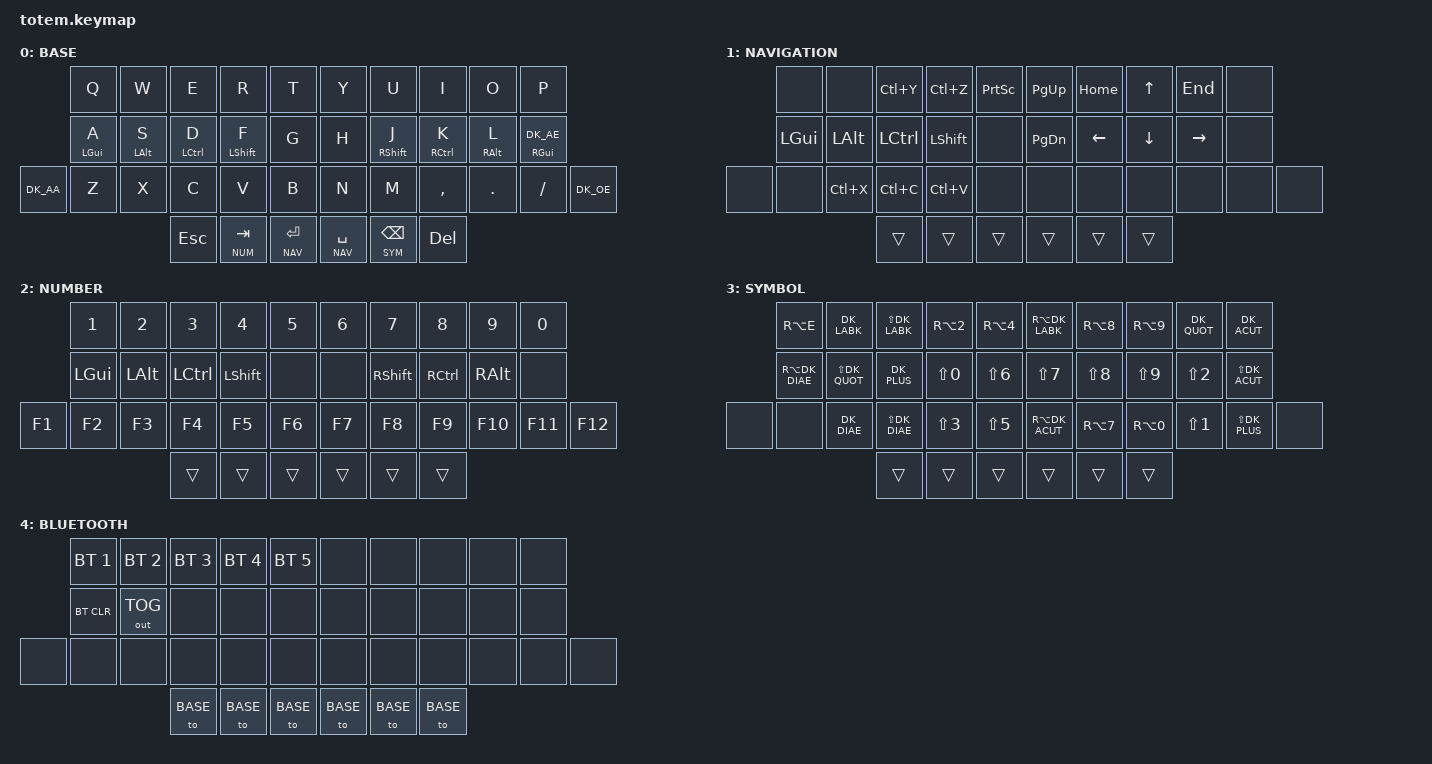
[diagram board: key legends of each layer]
//
//                                                        ▀▀▀▀▀     ▀▀▀▀▀          ▀▀█▀▀
//                                                        ▄▀▀▀▄  ▄  ▄▀▀▀▄  ▄  ▄▀▀▀▄  █  ▄▀▀▀▄
//                                                        █   █  █  █   █  █  █   █  █  █   █
//                                                         ▀▀▀   █   ▀▀▀   █   ▀▀▀   ▀   ▀▀▀
//                                                               █      ▄▄▄█▄▄▄    █   █  
//                                                               ▀      █  █  █     █▄█
//                                                             ▀▀▀▀▀    █  █  █      ▀
//                                                                      ▀  ▀  ▀
//
// ▄▄▄▄▄▄▄▄▄▄▄▄▄▄▄▄▄▄▄▄▄▄▄▄▄▄▄▄▄▄▄▄▄▄▄▄▄▄▄▄▄▄▄▄▄▄▄▄▄▄▄▄▄▄▄▄▄▄▄▄▄▄▄▄▄▄▄▄▄▄▄▄▄▄▄▄▄▄▄▄▄▄▄▄▄▄▄▄▄▄▄▄▄▄▄▄▄▄▄▄▄▄▄▄▄▄▄▄▄▄▄▄▄▄▄▄▄▄▄▄▄▄▄▄▄▄▄▄▄▄▄▄▄▄▄▄▄▄▄▄▄▄▄▄▄▄▄▄▄
       

#include <behaviors.dtsi>
#include <dt-bindings/zmk/keys.h>
#include <dt-bindings/zmk/bt.h>
#include <dt-bindings/zmk/outputs.h>
#include "keys_danish.h"

#define BASE 0
#define NAV  1
#define NUM  2
#define SYM  3
#define BLT  4

&mt {
  flavor = "balanced";
  tapping-term-ms = <200>;
};

&lt {
  flavor = "balanced";
  tapping-term-ms = <200>;
};

/ {
     combos {
            compatible = "zmk,combos";
            combo_blt {
                timeout-ms = <100>;
                key-positions = <20 21 22>;
                bindings = <&tog BLT>;
            };
    };

        keymap {
                compatible = "zmk,keymap";
// ▄▄▄▄▄▄▄▄▄▄▄▄▄▄▄▄▄▄▄▄▄▄▄▄▄▄▄▄▄▄▄▄▄▄▄▄▄▄▄▄▄▄▄▄▄▄▄▄▄▄▄▄▄▄▄▄▄▄▄▄▄▄▄▄▄▄▄▄▄▄▄▄▄▄▄▄▄▄▄▄▄▄▄▄▄▄▄▄▄▄▄▄▄▄▄▄▄▄▄▄▄▄▄▄▄▄▄▄▄▄▄▄▄▄▄▄▄▄▄▄▄▄▄▄▄▄▄▄▄▄▄▄▄▄▄▄▄▄▄▄▄▄▄▄▄▄▄▄▄

                base_layer {
// ┏━━━━━━━━━━━━━━━━━━━━━━━━━━━━━━━━━━━━━━━┓
label= "BASE"                              ;
// ┗━━━━━━━━━━━━━━━━━━━━━━━━━━━━━━━━━━━━━━━┛
//             ┏━━━━━━━━━━━┳━━━━━━━━━━━┳━━━━━━━━━━━┳━━━━━━━━━━━┳━━━━━━━━━━━┓   ┏━━━━━━━━━━━┳━━━━━━━━━━━┳━━━━━━━━━━━┳━━━━━━━━━━━┳━━━━━━━━━━━┓
//             ┃     Q     ┃     W     ┃     E     ┃     R     ┃     T     ┃   ┃     Y     ┃     U     ┃     I     ┃     O     ┃     P     ┃
//             ┣━━━━━━━━━━━╋━━━━━━━━━━━╋━━━━━━━━━━━╋━━━━━━━━━━━╋━━━━━━━━━━━┫   ┣━━━━━━━━━━━╋━━━━━━━━━━━╋━━━━━━━━━━━╋━━━━━━━━━━━╋━━━━━━━━━━━┫
//             ┃  A (WIN)  ┃  S (ALT)  ┃  D (CTRL) ┃ F (SHIFT) ┃     G     ┃   ┃     H     ┃ J (SHIFT) ┃  K (CTRL) ┃  L (ALT)  ┃  Æ (WIN)  ┃
// ┏━━━━━━━━━━━╋━━━━━━━━━━━╋━━━━━━━━━━━╋━━━━━━━━━━━╋━━━━━━━━━━━╋━━━━━━━━━━━┫   ┣━━━━━━━━━━━╋━━━━━━━━━━━╋━━━━━━━━━━━╋━━━━━━━━━━━╋━━━━━━━━━━━╋━━━━━━━━━━━┓
// ┃     Å     ┃     Z     ┃     X     ┃     C     ┃     V     ┃     B     ┃   ┃     N     ┃     M     ┃     ,     ┃     .     ┃     -     ┃     Ø     ┃
// ┗━━━━━━━━━━━┻━━━━━━━━━━━┻━━━━━━━━━━━╋━━━━━━━━━━━╋━━━━━━━━━━━╋━━━━━━━━━━━┫   ┣━━━━━━━━━━━╋━━━━━━━━━━━╋━━━━━━━━━━━╋━━━━━━━━━━━┻━━━━━━━━━━━┻━━━━━━━━━━━┛
//                                     ┃    ESC    ┃ TAB (NUM) ┃ENTER (NAV)┃   ┃SPACE (NAV)┃ BSPC (SYM)┃   DEL     ┃
//                                     ┗━━━━━━━━━━━┻━━━━━━━━━━━┻━━━━━━━━━━━┛   ┗━━━━━━━━━━━┻━━━━━━━━━━━┻━━━━━━━━━━━┛
 bindings = <
// ╷           ╷           ╷           ╷           ╷           ╷           ╷   ╷           ╷           ╷           ╷           ╷           ╷           ╷

                &kp Q       &kp W       &kp E       &kp R       &kp T           &kp Y       &kp U       &kp I       &kp O       &kp P
                &mt LGUI A  &mt LALT S  &mt LCTRL D &mt LSHFT F &kp G           &kp H       &mt RSHFT J &mt RCTRL K &mt RALT L  &mt RGUI DK_AE
    &kp DK_AA   &kp Z       &kp X       &kp C       &kp V       &kp B           &kp N       &kp M       &kp COMMA   &kp DOT     &kp FSLH    &kp DK_OE
                                        &kp ESC     &lt NUM TAB &lt NAV RET     &lt NAV SPACE &lt SYM BSPC  &kp DEL
                        >;
                };

// ▄▄▄▄▄▄▄▄▄▄▄▄▄▄▄▄▄▄▄▄▄▄▄▄▄▄▄▄▄▄▄▄▄▄▄▄▄▄▄▄▄▄▄▄▄▄▄▄▄▄▄▄▄▄▄▄▄▄▄▄▄▄▄▄▄▄▄▄▄▄▄▄▄▄▄▄▄▄▄▄▄▄▄▄▄▄▄▄▄▄▄▄▄▄▄▄▄▄▄▄▄▄▄▄▄▄▄▄▄▄▄▄▄▄▄▄▄▄▄▄▄▄▄▄▄▄▄▄▄▄▄▄▄▄▄▄▄▄▄▄▄▄▄▄▄▄▄▄▄


                nav_layer {
// ┏━━━━━━━━━━━━━━━━━━━━━━━━━━━━━━━━━━━━━━━┓
label= "NAVIGATION"                        ;
// ┗━━━━━━━━━━━━━━━━━━━━━━━━━━━━━━━━━━━━━━━┛
//             ┏━━━━━━━━━━━┳━━━━━━━━━━━┳━━━━━━━━━━━┳━━━━━━━━━━━┳━━━━━━━━━━━┓   ┏━━━━━━━━━━━┳━━━━━━━━━━━┳━━━━━━━━━━━┳━━━━━━━━━━━┳━━━━━━━━━━━┓
//             ┃           ┃           ┃   REDO    ┃   UNDO    ┃ PRINTSCR  ┃   ┃  PAGE_UP  ┃   HOME    ┃     UP    ┃   END     ┃           ┃
//             ┣━━━━━━━━━━━╋━━━━━━━━━━━╋━━━━━━━━━━━╋━━━━━━━━━━━╋━━━━━━━━━━━┫   ┣━━━━━━━━━━━╋━━━━━━━━━━━╋━━━━━━━━━━━╋━━━━━━━━━━━╋━━━━━━━━━━━┫
//             ┃   WIN     ┃    ALT    ┃   CTRL    ┃   SHIFT   ┃           ┃   ┃ PAGE_DOWN ┃   LEFT    ┃    DOWN   ┃   RIGHT   ┃           ┃
// ┏━━━━━━━━━━━╋━━━━━━━━━━━╋━━━━━━━━━━━╋━━━━━━━━━━━╋━━━━━━━━━━━╋━━━━━━━━━━━┫   ┣━━━━━━━━━━━╋━━━━━━━━━━━╋━━━━━━━━━━━╋━━━━━━━━━━━╋━━━━━━━━━━━╋━━━━━━━━━━━┓
// ┃           ┃           ┃    CUT    ┃   COPY    ┃   PASTE   ┃           ┃   ┃           ┃           ┃           ┃           ┃           ┃           ┃
// ┗━━━━━━━━━━━┻━━━━━━━━━━━┻━━━━━━━━━━━╋━━━━━━━━━━━╋━━━━━━━━━━━╋━━━━━━━━━━━┫   ┣━━━━━━━━━━━╋━━━━━━━━━━━╋━━━━━━━━━━━╋━━━━━━━━━━━┻━━━━━━━━━━━┻━━━━━━━━━━━┛
//                                     ┃           ┃           ┃           ┃   ┃           ┃           ┃           ┃
//                                     ┗━━━━━━━━━━━┻━━━━━━━━━━━┻━━━━━━━━━━━┛   ┗━━━━━━━━━━━┻━━━━━━━━━━━┻━━━━━━━━━━━┛
 bindings = <
// ╷           ╷           ╷           ╷           ╷           ╷           ╷   ╷           ╷           ╷           ╷           ╷           ╷           ╷

                &none       &none       &kp LC(Y)   &kp LC(Z)   &kp PSCRN       &kp PG_UP   &kp HOME    &kp UP      &kp END     &none
                &kp LGUI    &kp LALT    &kp LCTRL   &kp LSHFT   &none           &kp PG_DN   &kp LEFT    &kp DOWN    &kp RIGHT   &none
     &none      &none       &kp LC(X)   &kp LC(C)   &kp LC(V)   &none           &none       &none       &none       &none       &none       &none
                                        &trans      &trans      &trans          &trans      &trans      &trans
                        >;
                };

// ▄▄▄▄▄▄▄▄▄▄▄▄▄▄▄▄▄▄▄▄▄▄▄▄▄▄▄▄▄▄▄▄▄▄▄▄▄▄▄▄▄▄▄▄▄▄▄▄▄▄▄▄▄▄▄▄▄▄▄▄▄▄▄▄▄▄▄▄▄▄▄▄▄▄▄▄▄▄▄▄▄▄▄▄▄▄▄▄▄▄▄▄▄▄▄▄▄▄▄▄▄▄▄▄▄▄▄▄▄▄▄▄▄▄▄▄▄▄▄▄▄▄▄▄▄▄▄▄▄▄▄▄▄▄▄▄▄▄▄▄▄▄▄▄▄▄▄▄▄


                num_layer {
// ┏━━━━━━━━━━━━━━━━━━━━━━━━━━━━━━━━━━━━━━━┓
label= "NUMBER"                            ;
// ┗━━━━━━━━━━━━━━━━━━━━━━━━━━━━━━━━━━━━━━━┛
//             ┏━━━━━━━━━━━┳━━━━━━━━━━━┳━━━━━━━━━━━┳━━━━━━━━━━━┳━━━━━━━━━━━┓   ┏━━━━━━━━━━━┳━━━━━━━━━━━┳━━━━━━━━━━━┳━━━━━━━━━━━┳━━━━━━━━━━━┓
//             ┃     1     ┃     2     ┃     3     ┃     4     ┃     5     ┃   ┃     6     ┃     7     ┃     8     ┃     9     ┃     0     ┃
//             ┣━━━━━━━━━━━╋━━━━━━━━━━━╋━━━━━━━━━━━╋━━━━━━━━━━━╋━━━━━━━━━━━┫   ┣━━━━━━━━━━━╋━━━━━━━━━━━╋━━━━━━━━━━━╋━━━━━━━━━━━╋━━━━━━━━━━━┫
//             ┃    WIN    ┃    ALT    ┃   CTRL    ┃   SHIFT   ┃           ┃   ┃           ┃   SHIFT   ┃   CTRL    ┃    ALT    ┃    WIN    ┃
// ┏━━━━━━━━━━━╋━━━━━━━━━━━╋━━━━━━━━━━━╋━━━━━━━━━━━╋━━━━━━━━━━━╋━━━━━━━━━━━┫   ┣━━━━━━━━━━━╋━━━━━━━━━━━╋━━━━━━━━━━━╋━━━━━━━━━━━╋━━━━━━━━━━━╋━━━━━━━━━━━┓
// ┃    F1     ┃    F2     ┃    F3     ┃    F4     ┃    F5     ┃    F6     ┃   ┃    F7     ┃    F8     ┃    F9     ┃    F10    ┃    F11    ┃    F12    ┃
// ┗━━━━━━━━━━━┻━━━━━━━━━━━┻━━━━━━━━━━━╋━━━━━━━━━━━╋━━━━━━━━━━━╋━━━━━━━━━━━┫   ┣━━━━━━━━━━━╋━━━━━━━━━━━╋━━━━━━━━━━━╋━━━━━━━━━━━┻━━━━━━━━━━━┻━━━━━━━━━━━┛
//                                     ┃           ┃           ┃           ┃   ┃           ┃           ┃           ┃
//                                     ┗━━━━━━━━━━━┻━━━━━━━━━━━┻━━━━━━━━━━━┛   ┗━━━━━━━━━━━┻━━━━━━━━━━━┻━━━━━━━━━━━┛
 bindings = <
// ╷           ╷           ╷           ╷           ╷           ╷           ╷   ╷           ╷           ╷           ╷           ╷           ╷           ╷

                &kp N1      &kp N2      &kp N3      &kp N4      &kp N5          &kp N6      &kp N7      &kp N8      &kp N9      &kp N0
                &kp LGUI    &kp LALT    &kp LCTRL   &kp LSHFT   &none           &none       &kp RSHFT   &kp RCTRL   &kp RALT    &none
    &kp F1      &kp F2      &kp F3      &kp F4      &kp F5      &kp F6          &kp F7      &kp F8      &kp F9      &kp F10     &kp F11     &kp F12
                                        &trans      &trans      &trans          &trans      &trans      &trans 
                        >;
                };

// ▄▄▄▄▄▄▄▄▄▄▄▄▄▄▄▄▄▄▄▄▄▄▄▄▄▄▄▄▄▄▄▄▄▄▄▄▄▄▄▄▄▄▄▄▄▄▄▄▄▄▄▄▄▄▄▄▄▄▄▄▄▄▄▄▄▄▄▄▄▄▄▄▄▄▄▄▄▄▄▄▄▄▄▄▄▄▄▄▄▄▄▄▄▄▄▄▄▄▄▄▄▄▄▄▄▄▄▄▄▄▄▄▄▄▄▄▄▄▄▄▄▄▄▄▄▄▄▄▄▄▄▄▄▄▄▄▄▄▄▄▄▄▄▄▄▄▄▄▄


                sym_layer {
// ┏━━━━━━━━━━━━━━━━━━━━━━━━━━━━━━━━━━━━━━━┓
label= "SYMBOL"                            ;
// ┗━━━━━━━━━━━━━━━━━━━━━━━━━━━━━━━━━━━━━━━┛
//             ┏━━━━━━━━━━━┳━━━━━━━━━━━┳━━━━━━━━━━━┳━━━━━━━━━━━┳━━━━━━━━━━━┓   ┏━━━━━━━━━━━┳━━━━━━━━━━━┳━━━━━━━━━━━┳━━━━━━━━━━━┳━━━━━━━━━━━┓
//             ┃     €     ┃     <     ┃     >     ┃     @     ┃     $     ┃   ┃     \     ┃     [     ┃     ]     ┃     '     ┃     ´     ┃
//             ┣━━━━━━━━━━━╋━━━━━━━━━━━╋━━━━━━━━━━━╋━━━━━━━━━━━╋━━━━━━━━━━━┫   ┣━━━━━━━━━━━╋━━━━━━━━━━━╋━━━━━━━━━━━╋━━━━━━━━━━━╋━━━━━━━━━━━┫
//             ┃     ~     ┃     *     ┃     +     ┃     =     ┃     &     ┃   ┃     /     ┃     (     ┃     )     ┃     "     ┃     `     ┃
// ┏━━━━━━━━━━━╋━━━━━━━━━━━╋━━━━━━━━━━━╋━━━━━━━━━━━╋━━━━━━━━━━━╋━━━━━━━━━━━┫   ┣━━━━━━━━━━━╋━━━━━━━━━━━╋━━━━━━━━━━━╋━━━━━━━━━━━╋━━━━━━━━━━━╋━━━━━━━━━━━┓
// ┃           ┃           ┃     ¨     ┃     ^     ┃     #     ┃     %     ┃   ┃     |     ┃     {     ┃     }     ┃     !     ┃     ?     ┃           ┃
// ┗━━━━━━━━━━━┻━━━━━━━━━━━┻━━━━━━━━━━━╋━━━━━━━━━━━╋━━━━━━━━━━━╋━━━━━━━━━━━┫   ┣━━━━━━━━━━━╋━━━━━━━━━━━╋━━━━━━━━━━━╋━━━━━━━━━━━┻━━━━━━━━━━━┻━━━━━━━━━━━┛
//                                     ┃           ┃           ┃           ┃   ┃           ┃           ┃           ┃
//                                     ┗━━━━━━━━━━━┻━━━━━━━━━━━┻━━━━━━━━━━━┛   ┗━━━━━━━━━━━┻━━━━━━━━━━━┻━━━━━━━━━━━┛
 bindings = <
// ╷           ╷           ╷           ╷           ╷           ╷           ╷   ╷           ╷           ╷           ╷           ╷           ╷           ╷

             &kp RA(E)  &kp DK_LABK &kp LS(DK_LABK) &kp RA(N2)  &kp RA(N4)      &kp RA(DK_LABK) &kp RA(N8)  &kp RA(N9)  &kp DK_QUOT &kp DK_ACUT
        &kp RA(DK_DIAE) &kp LS(DK_QUOT) &kp DK_PLUS &kp LS(N0)  &kp LS(N6)      &kp LS(N7)  &kp LS(N8)  &kp LS(N9)  &kp LS(N2)  &kp LS(DK_ACUT)
     &none      &none   &kp DK_DIAE   &kp LS(DK_DIAE) &kp LS(N3) &kp LS(N5)     &kp RA(DK_ACUT) &kp RA(N7)  &kp RA(N0) &kp LS(N1)  &kp LS(DK_PLUS) &none
                                        &trans      &trans      &trans          &trans      &trans      &trans
                        >;
                };

// ▄▄▄▄▄▄▄▄▄▄▄▄▄▄▄▄▄▄▄▄▄▄▄▄▄▄▄▄▄▄▄▄▄▄▄▄▄▄▄▄▄▄▄▄▄▄▄▄▄▄▄▄▄▄▄▄▄▄▄▄▄▄▄▄▄▄▄▄▄▄▄▄▄▄▄▄▄▄▄▄▄▄▄▄▄▄▄▄▄▄▄▄▄▄▄▄▄▄▄▄▄▄▄▄▄▄▄▄▄▄▄▄▄▄▄▄▄▄▄▄▄▄▄▄▄▄▄▄▄▄▄▄▄▄▄▄▄▄▄▄▄▄▄▄▄▄▄▄▄


                BLT_layer {
// ┏━━━━━━━━━━━━━━━━━━━━━━━━━━━━━━━━━━━━━━━┓
label= "BLUETOOTH"                         ;
// ┗━━━━━━━━━━━━━━━━━━━━━━━━━━━━━━━━━━━━━━━┛
//             ┏━━━━━━━━━━━┳━━━━━━━━━━━┳━━━━━━━━━━━┳━━━━━━━━━━━┳━━━━━━━━━━━┓   ┏━━━━━━━━━━━┳━━━━━━━━━━━┳━━━━━━━━━━━┳━━━━━━━━━━━┳━━━━━━━━━━━┓
//             ┃   BT 1    ┃   BT 2    ┃   BT 3    ┃   BT 4    ┃   BT 5    ┃   ┃           ┃           ┃           ┃           ┃           ┃
//             ┣━━━━━━━━━━━╋━━━━━━━━━━━╋━━━━━━━━━━━╋━━━━━━━━━━━╋━━━━━━━━━━━┫   ┣━━━━━━━━━━━╋━━━━━━━━━━━╋━━━━━━━━━━━╋━━━━━━━━━━━╋━━━━━━━━━━━┫
//             ┃  BT CLEAR ┃  OUT TOG  ┃           ┃           ┃           ┃   ┃           ┃           ┃           ┃           ┃           ┃
// ┏━━━━━━━━━━━╋━━━━━━━━━━━╋━━━━━━━━━━━╋━━━━━━━━━━━╋━━━━━━━━━━━╋━━━━━━━━━━━┫   ┣━━━━━━━━━━━╋━━━━━━━━━━━╋━━━━━━━━━━━╋━━━━━━━━━━━╋━━━━━━━━━━━╋━━━━━━━━━━━┓
// ┃           ┃           ┃           ┃           ┃           ┃           ┃   ┃           ┃           ┃           ┃           ┃           ┃           ┃
// ┗━━━━━━━━━━━┻━━━━━━━━━━━┻━━━━━━━━━━━╋━━━━━━━━━━━╋━━━━━━━━━━━╋━━━━━━━━━━━┫   ┣━━━━━━━━━━━╋━━━━━━━━━━━╋━━━━━━━━━━━╋━━━━━━━━━━━┻━━━━━━━━━━━┻━━━━━━━━━━━┛
//                                     ┃           ┃           ┃           ┃   ┃           ┃           ┃           ┃
//                                     ┗━━━━━━━━━━━┻━━━━━━━━━━━┻━━━━━━━━━━━┛   ┗━━━━━━━━━━━┻━━━━━━━━━━━┻━━━━━━━━━━━┛
 bindings = <
// ╷           ╷           ╷           ╷           ╷           ╷           ╷   ╷           ╷           ╷           ╷           ╷           ╷           ╷

            &bt BT_SEL 1 &bt BT_SEL 2 &bt BT_SEL 3 &bt BT_SEL 4 &bt BT_SEL 5    &none       &none       &none       &none       &none
                &bt BT_CLR  &out OUT_TOG &none      &none       &none           &none       &none       &none       &none       &none
    &none       &none       &none       &none       &none       &none           &none       &none       &none       &none       &none       &none
                                        &to BASE    &to BASE    &to BASE        &to BASE    &to BASE    &to BASE
                        >;
                };
        };
};
